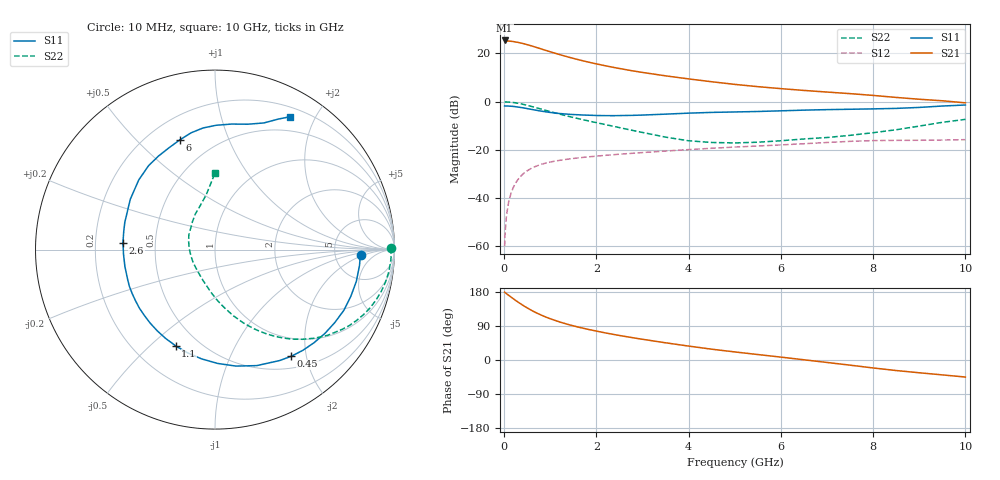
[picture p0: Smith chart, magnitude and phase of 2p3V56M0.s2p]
! (c) 2009  Infineon Technologies AG, Munich
! Infineon Technologies  Discrete & RF Semiconductors
! BFP420
! VCE =  3.5 V,  IC =  6.0 mA
! Common Emitter S-Parameters:  Nov 2009
# GHz  S  MA  R  50
!  f  S11  S21  S12  S22
! GHz  MAG  ANG  MAG  ANG  MAG  ANG  MAG  ANG
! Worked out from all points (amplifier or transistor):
!   46 points, 10 MHz to 10 GHz, reference 50 ohm
!   highest |S21| = 25.4 dB at 10 MHz (marker M1)
!   |S21| within 3 dB of that: start of sweep to 718.3 MHz
!   unconditionally stable (mu >= 1): start of sweep to 10.25 MHz; 2.84 GHz to end of sweep
!   at 300 MHz: K = 0.14, MSG = 28.4 dB, |S12| = -32.3 dB
!   at 1.7 GHz: K = 0.65, MSG = 20.1 dB, |S12| = -23.2 dB
!   at 10 GHz: K = 1.11, MAG = 5.6 dB, |S12| = -15.8 dB
!   lowest NFmin = 0.70 dB at 900 MHz
!   S11 on the Smith chart (normalised r, x): 10 MHz: 9.36, -1.55; 450 MHz: 0.68, -1.74; 1.1 GHz: 0.37, -0.60; 2.6 GHz: 0.32, +0.03; 6 GHz: 0.33, +0.68; 10 GHz: 0.31, +1.67
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0.01  0.8116 -2.0  18.54 179.0  0.001 37.5  0.9787 0.5
0.02  0.8099 -2.4  18.08 178.0  0.0018 70.0  0.9819 -1.4
0.1  0.8071 -12.7  18.03 170.5  0.0085 80.5  0.9768 -7.1
0.2  0.7939 -25.1  17.59 161.6  0.0166 75.7  0.9555 -14.0
0.25  0.7816 -31.3  17.22 157.1  0.0205 73.1  0.9408 -17.3
0.35  0.7572 -43.3  16.51 148.9  0.0277 67.9  0.9032 -23.7
0.45  0.7304 -54.5  15.64 141.1  0.0339 63.0  0.8597 -29.5
0.6  0.687 -70.2  14.23 130.6  0.0418 56.6  0.7894 -37.2
0.7  0.6594 -79.8  13.3 124.4  0.046 53.1  0.7433 -41.6
0.9  0.6134 -97.0  11.57 113.5  0.0529 47.3  0.6581 -49.3
1.1  0.5795 -112.2  10.1 104.6  0.0581 43.1  0.5843 -55.6
1.4  0.5461 -131.4  8.35 93.3  0.0642 38.4  0.4934 -63.6
1.7  0.5265 -147.4  7.052 84.2  0.0693 35.2  0.4224 -70.3
2.2  0.5108 -169.3  5.519 71.4  0.0767 31.3  0.3324 -80.2
2.6  0.5144 175.6  4.667 62.6  0.0822 28.8  0.275 -88.7
3.5  0.5489 149.3  3.419 45.4  0.0941 23.9  0.183 -111.9
4.5  0.5963 128.4  2.578 28.5  0.1075 18.2  0.1417 -148.9
5.5  0.623 114.1  2.04 14.4  0.1198 12.5  0.1435 177.7
6  0.6429 107.5  1.856 7.6  0.1262 9.7  0.1539 162.7
7  0.6809 95.6  1.576 -6.5  0.1417 3.0  0.1796 139.2
8.5  0.7222 75.3  1.219 -27.8  0.1567 -11.3  0.2603 108.1
10  0.8494 60.6  0.942 -45.0  0.1622 -20.7  0.4276 90.0
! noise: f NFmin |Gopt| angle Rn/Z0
0.9  0.7  0.16  29  0.14
1.8  1.08  0.06  113  0.12
2.4  1.17  0.11  132  0.13
3  1.26  0.17  176  0.11
4  1.43  0.31  -139  0.13
5  1.82  0.38  -115  0.24
6  2.3  0.43  -99  0.37
